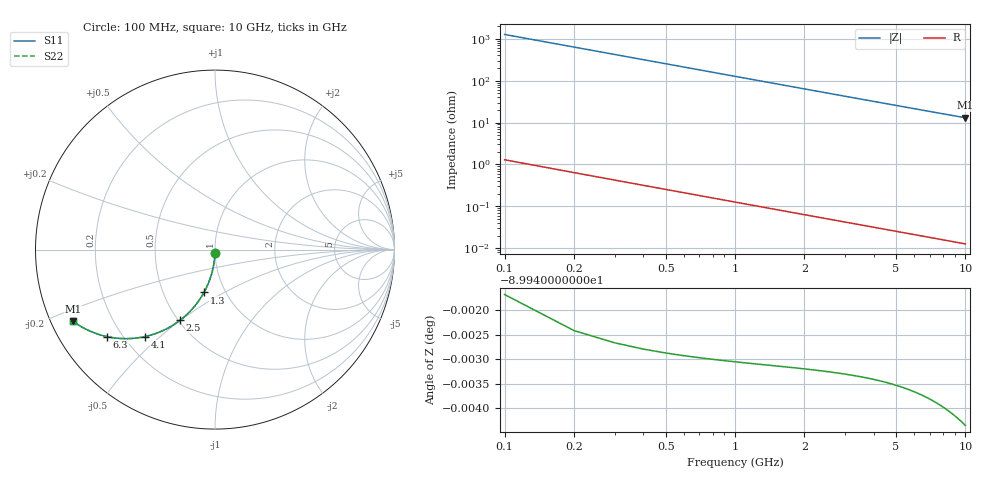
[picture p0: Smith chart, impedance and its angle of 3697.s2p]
# Hz S RI R 50.00
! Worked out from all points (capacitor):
!   100 points, 100 MHz to 10 GHz, reference 50 ohm
!   read as one part in shunt: C = 1.25 pF near 100 MHz
!   lowest |Z| = 13 ohm at 10 GHz (marker M1)
!   S11 on the Smith chart (normalised r, x): 100 MHz: 1.00, -0.04; 1.3 GHz: 0.79, -0.40; 2.5 GHz: 0.51, -0.50; 4.1 GHz: 0.28, -0.45; 6.3 GHz: 0.14, -0.35; 10 GHz: 0.06, -0.24
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1e8  -0.000396 -0.0196  0.9996 -0.0197  0.9996 -0.0197  -0.000396 -0.0196
2e8  -0.00157 -0.0391  0.9984 -0.0394  0.9984 -0.0394  -0.00157 -0.0391
3e8  -0.00352 -0.0586  0.9965 -0.059  0.9965 -0.059  -0.00352 -0.0586
4e8  -0.00621 -0.0779  0.9938 -0.0784  0.9938 -0.0784  -0.00621 -0.0779
5e8  -0.00966 -0.097  0.9903 -0.0977  0.9903 -0.0977  -0.00966 -0.097
6e8  -0.0138 -0.1159  0.9862 -0.1167  0.9862 -0.1167  -0.0138 -0.1159
8e8  -0.0243 -0.1529  0.9757 -0.1539  0.9757 -0.1539  -0.0243 -0.1529
1e9  -0.0373 -0.1884  0.9626 -0.1898  0.9626 -0.1898  -0.0373 -0.1884
1.3e9  -0.0614 -0.2387  0.9386 -0.2404  0.9386 -0.2404  -0.0614 -0.2387
1.5e9  -0.08 -0.2698  0.92 -0.2718  0.92 -0.2718  -0.08 -0.2698
1.8e9  -0.1111 -0.3126  0.8888 -0.315  0.8888 -0.315  -0.1111 -0.3126
2.1e9  -0.1453 -0.3505  0.8547 -0.3533  0.8547 -0.3533  -0.1453 -0.3505
2.5e9  -0.1938 -0.3931  0.8062 -0.3965  0.8062 -0.3965  -0.1938 -0.3931
2.9e9  -0.2441 -0.4271  0.7559 -0.431  0.7559 -0.431  -0.2441 -0.4271
3.4e9  -0.307 -0.4585  0.693 -0.463  0.693 -0.463  -0.307 -0.4585
4.1e9  -0.3912 -0.4848  0.6088 -0.4903  0.6088 -0.4903  -0.3912 -0.4848
5.1e9  -0.4977 -0.496  0.5022 -0.503  0.5022 -0.503  -0.4977 -0.496
6.3e9  -0.6012 -0.4849  0.3988 -0.4934  0.3988 -0.4934  -0.6012 -0.4849
6.7e9  -0.6301 -0.4777  0.3698 -0.4868  0.3698 -0.4868  -0.6301 -0.4777
7.5e9  -0.6806 -0.4606  0.3193 -0.4709  0.3193 -0.4709  -0.6806 -0.4606
8.4e9  -0.7275 -0.4389  0.2724 -0.4505  0.2724 -0.4505  -0.7275 -0.4389
1e10  -0.7907 -0.3993  0.2091 -0.4132  0.2091 -0.4132  -0.7907 -0.3993
